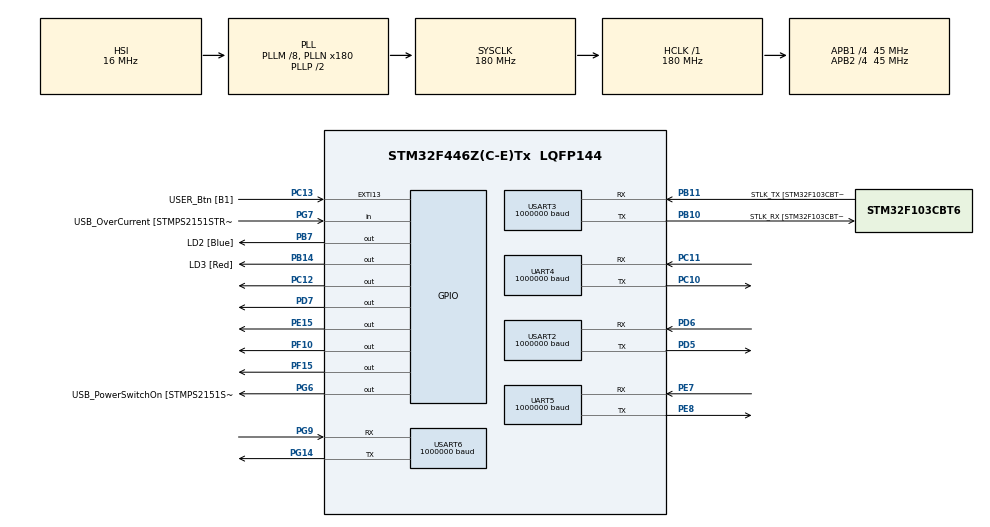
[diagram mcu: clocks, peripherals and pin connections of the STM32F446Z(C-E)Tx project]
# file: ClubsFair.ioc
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Mcu.Family=STM32F4
Mcu.Name=STM32F446Z(C-E)Tx
Mcu.Package=LQFP144
NVIC.PriorityGroup=NVIC_PRIORITYGROUP_4
NVIC.TIM1_UP_TIM10_IRQn=true\:0\:0\:false\:false\:true
NVIC.UART4_IRQn=true\:0\:0\:false\:false\:true
NVIC.UART5_IRQn=true\:0\:0\:false\:false\:true
NVIC.USART2_IRQn=true\:0\:0\:false\:true\:true\:1
NVIC.USART3_IRQn=true\:0\:0\:false\:false\:true
NVIC.USART6_IRQn=true\:0\:0\:false\:true\:true\:2
PA10.GPIO_Label=USB_ID
PA10.Signal=USB_OTG_FS_ID
PA11.GPIO_Label=USB_DM
PA11.Signal=USB_OTG_FS_DM
PA12.GPIO_Label=USB_DP
PA12.Signal=USB_OTG_FS_DP
PA13.GPIO_Label=TMS
PA13.Signal=SYS_JTMS-SWDIO
PA14.GPIO_Label=TCK
PA14.Signal=SYS_JTCK-SWCLK
PA8.GPIO_Label=USB_SOF [TP1]
PA8.Signal=USB_OTG_FS_SOF
PA9.GPIO_Label=USB_VBUS
PA9.Signal=USB_OTG_FS_VBUS
PB10.GPIO_Label=STLK_RX [STM32F103CBT6_PA3]
PB10.Mode=Asynchronous
PB10.Signal=USART3_TX
PB11.GPIO_Label=STLK_TX [STM32F103CBT6_PA2]
PB11.Mode=Asynchronous
PB11.Signal=USART3_RX
PB14.GPIO_Label=LD3 [Red]
PB14.Signal=GPIO_Output
PB7.GPIO_Label=LD2 [Blue]
PB7.Signal=GPIO_Output
PC10.Mode=Asynchronous
PC10.Signal=UART4_TX
PC11.Mode=Asynchronous
PC11.Signal=UART4_RX
PC12.GPIO_Speed=GPIO_SPEED_FREQ_VERY_HIGH
PC12.PinState=GPIO_PIN_SET
PC12.Signal=GPIO_Output
PC13.GPIO_Label=USER_Btn [B1]
PC13.Signal=GPXTI13
PC14-OSC32_IN.Signal=RCC_OSC32_IN
PC15-OSC32_OUT.Signal=RCC_OSC32_OUT
PD5.Mode=Asynchronous
PD5.Signal=USART2_TX
PD6.Mode=Asynchronous
PD6.Signal=USART2_RX
PD7.GPIO_Speed=GPIO_SPEED_FREQ_VERY_HIGH
PD7.PinState=GPIO_PIN_SET
PD7.Signal=GPIO_Output
PE15.GPIO_Speed=GPIO_SPEED_FREQ_VERY_HIGH
PE15.PinState=GPIO_PIN_SET
PE15.Signal=GPIO_Output
PE7.Mode=Asynchronous
PE7.Signal=UART5_RX
PE8.Mode=Asynchronous
PE8.Signal=UART5_TX
PF10.GPIO_Speed=GPIO_SPEED_FREQ_VERY_HIGH
PF10.PinState=GPIO_PIN_SET
PF10.Signal=GPIO_Output
PF15.GPIO_Speed=GPIO_SPEED_FREQ_VERY_HIGH
PF15.PinState=GPIO_PIN_SET
PF15.Signal=GPIO_Output
PG14.Mode=Asynchronous
PG14.Signal=USART6_TX
PG6.GPIO_Label=USB_PowerSwitchOn [STMPS2151STR_EN]
PG6.Signal=GPIO_Output
PG7.GPIO_Label=USB_OverCurrent [STMPS2151STR_FAULT]
PG7.Signal=GPIO_Input
PG9.Mode=Asynchronous
PG9.Signal=USART6_RX
PH0-OSC_IN.GPIO_Label=MCO [STM32F103CBT6_PA8]
PH0-OSC_IN.Signal=RCC_OSC_IN
PH1-OSC_OUT.Signal=RCC_OSC_OUT
ProjectManager.HeapSize=0x200
ProjectManager.StackSize=0x400
ProjectManager.TargetToolchain=SW4STM32
RCC.48MHZClocksFreq_Value=24000000
RCC.AHBFreq_Value=180000000
RCC.APB1CLKDivider=RCC_HCLK_DIV4
RCC.APB1Freq_Value=45000000
RCC.APB1TimFreq_Value=90000000
RCC.APB2CLKDivider=RCC_HCLK_DIV4
RCC.APB2Freq_Value=45000000
RCC.APB2TimFreq_Value=90000000
RCC.CortexFreq_Value=180000000
RCC.HCLKFreq_Value=180000000
RCC.HSE_VALUE=8000000
RCC.HSI_VALUE=16000000
RCC.LSE_VALUE=32768
RCC.PLLM=8
RCC.PLLMUL=RCC_PLL_MUL9
RCC.PLLN=180
RCC.PRESCALERUSB=RCC_USBCLKSOURCE_PLL_DIV1_5
RCC.SYSCLKFreq_VALUE=180000000
RCC.SYSCLKSource=RCC_SYSCLKSOURCE_PLLCLK
RCC.SYSCLKSourceVirtual=RCC_SYSCLKSOURCE_PLLCLK
RCC.USBFreq_Value=180000000
RCC.VCOOutputFreq_Value=360000000
TIM10.Period=999
TIM10.Prescaler=90
UART4.BaudRate=1000000
UART4.VirtualMode=Asynchronous
UART5.BaudRate=1000000
UART5.VirtualMode=Asynchronous
USART2.BaudRate=1000000
USART2.VirtualMode=VM_ASYNC
USART3.BaudRate=1000000
USART3.VirtualMode=VM_ASYNC
USART6.BaudRate=1000000
USART6.VirtualMode=VM_ASYNC
VP_TIM10_VS_ClockSourceINT.Mode=Enable_Timer
board=NUCLEO-F446ZE

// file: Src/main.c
/**
  ******************************************************************************
  * File Name          : main.c
  * Description        : Main program body
  ******************************************************************************
  ** This notice applies to any and all portions of this file
  * that are not between comment pairs USER CODE BEGIN and
  * USER CODE END. Other portions of this file, whether
  * inserted by the user or by software development tools
  * are owned by their respective copyright owners.
  *
  * COPYRIGHT(c) 2017 STMicroelectronics
  *
  * Redistribution and use in source and binary forms, with or without modification,
  * are permitted provided that the following conditions are met:
  *   1. Redistributions of source code must retain the above copyright notice,
  *      this list of conditions and the following disclaimer.
  *   2. Redistributions in binary form must reproduce the above copyright notice,
  *      this list of conditions and the following disclaimer in the documentation
  *      and/or other materials provided with the distribution.
  *   3. Neither the name of STMicroelectronics nor the names of its contributors
  *      may be used to endorse or promote products derived from this software
  *      without specific prior written permission.
  *
  * THIS SOFTWARE IS PROVIDED BY THE COPYRIGHT HOLDERS AND CONTRIBUTORS "AS IS"
  * AND ANY EXPRESS OR IMPLIED WARRANTIES, INCLUDING, BUT NOT LIMITED TO, THE
  * IMPLIED WARRANTIES OF MERCHANTABILITY AND FITNESS FOR A PARTICULAR PURPOSE ARE
  * DISCLAIMED. IN NO EVENT SHALL THE COPYRIGHT HOLDER OR CONTRIBUTORS BE LIABLE
  * FOR ANY DIRECT, INDIRECT, INCIDENTAL, SPECIAL, EXEMPLARY, OR CONSEQUENTIAL
  * DAMAGES (INCLUDING, BUT NOT LIMITED TO, PROCUREMENT OF SUBSTITUTE GOODS OR
  * SERVICES; LOSS OF USE, DATA, OR PROFITS; OR BUSINESS INTERRUPTION) HOWEVER
  * CAUSED AND ON ANY THEORY OF LIABILITY, WHETHER IN CONTRACT, STRICT LIABILITY,
  * OR TORT (INCLUDING NEGLIGENCE OR OTHERWISE) ARISING IN ANY WAY OUT OF THE USE
  * OF THIS SOFTWARE, EVEN IF ADVISED OF THE POSSIBILITY OF SUCH DAMAGE.
  *
  ******************************************************************************
  */
#include "main.h"
#include "stm32f4xx_hal.h"
#include "tim.h"
#include "usart.h"
#include "gpio.h"

/* USER CODE BEGIN Includes */
/* Motor driver. */
#include "../../../Dynamixel_AX-12A_Driver/src/Dynamixel_AX-12A.h"
#include "../../../Dynamixel_AX-12A_Driver/src/Dynamixel_AX-12A.c"
/* USER CODE END Includes */

/* USER CODE BEGIN PV */
/* Private variables ---------------------------------------------------------*/

/* Directions are relative to the robot's perspective. */
Dynamixel_HandleTypeDef Motor1; // Right motor to rotate left leg about vertical axis
Dynamixel_HandleTypeDef Motor2; // <--- --->
Dynamixel_HandleTypeDef Motor3;
Dynamixel_HandleTypeDef Motor4; // Left motor to rotate right leg about vertical axis
Dynamixel_HandleTypeDef Motor5; // <--- --->
Dynamixel_HandleTypeDef Motor6;
Dynamixel_HandleTypeDef Motor7; // Right knee
Dynamixel_HandleTypeDef Motor8; // Controls up/down motion of right foot
Dynamixel_HandleTypeDef Motor9; // Controls side-to-side motion of right foot
Dynamixel_HandleTypeDef Motor10; // Left knee
Dynamixel_HandleTypeDef Motor11; // Controls up/down motion of left foot
Dynamixel_HandleTypeDef Motor12; // Controls side-to-side motion of left foot

// UN-ID'd:
Dynamixel_HandleTypeDef Motor13; // Right shoulder
Dynamixel_HandleTypeDef Motor14; // Right elbow
Dynamixel_HandleTypeDef Motor15; // Left shoulder
Dynamixel_HandleTypeDef Motor16; // Left elbow
Dynamixel_HandleTypeDef Motor17; // Neck
/* USER CODE END PV */

void SystemClock_Config(void);
static void MX_NVIC_Init(void);

/* USER CODE BEGIN PFP */
/* Private function prototypes -----------------------------------------------*/

/* USER CODE END PFP */

int main(void)
{

  /* MCU Configuration----------------------------------------------------------*/

  /* Reset of all peripherals, Initializes the Flash interface and the Systick. */
  HAL_Init();

  /* Configure the system clock */
  SystemClock_Config();

  /* Initialize all configured peripherals */
  MX_GPIO_Init();
  MX_USART3_UART_Init();
  MX_USART2_UART_Init();
  MX_USART6_UART_Init();
  MX_UART5_Init();
  MX_TIM10_Init();
  MX_UART4_Init();

  /* Initialize interrupts */
  MX_NVIC_Init();

  /* USER CODE BEGIN 2 */
  /* UART2 --> Motors: 1, 2, 3	|	Data Direction Pin: D7 (STM32) / D51 (Nucleo446ZE). */
  	Dynamixel_Init(&Motor1, 1, &huart2, GPIOD, GPIO_PIN_7);
  	Dynamixel_Init(&Motor2, 2, &huart2, GPIOD, GPIO_PIN_7);
  	Dynamixel_Init(&Motor3, 3, &huart2, GPIOD, GPIO_PIN_7);

  	/* UART4 --> Motors: 4, 5, 6	|	Data Direction Pin: C12 (STM32) / D47 (Nucleo446ZE). */
  	Dynamixel_Init(&Motor4, 4, &huart4, GPIOC, GPIO_PIN_12);
  	Dynamixel_Init(&Motor5, 5, &huart4, GPIOC, GPIO_PIN_12);
  	Dynamixel_Init(&Motor6, 6, &huart4, GPIOC, GPIO_PIN_12);

  	/* UART5 --> Motors: 7, 8, 9	|	Data Direction Pin: F10 (STM32) / A5 (Nucleo446ZE). */
  	Dynamixel_Init(&Motor7, 7, &huart5, GPIOF, GPIO_PIN_10);
  	Dynamixel_Init(&Motor8, 8, &huart5, GPIOF, GPIO_PIN_10);
  	Dynamixel_Init(&Motor9, 9, &huart5, GPIOF, GPIO_PIN_10);

  	/* UART6 --> Motors: 10, 11, 12	|	Data Direction Pin: F15 (STM32) / D2 (Nucleo446ZE). */
  	Dynamixel_Init(&Motor10, 10, &huart6, GPIOF, GPIO_PIN_15);
  	Dynamixel_Init(&Motor11, 11, &huart6, GPIOF, GPIO_PIN_15);
  	Dynamixel_Init(&Motor12, 12, &huart6, GPIOF, GPIO_PIN_15);

  	Dynamixel_HandleTypeDef* arrDynamixel[12];
  	arrDynamixel[0] = &Motor1;
  	arrDynamixel[1] = &Motor2;
  	arrDynamixel[2] = &Motor3;
  	arrDynamixel[3] = &Motor4;
  	arrDynamixel[4] = &Motor5;
  	arrDynamixel[5] = &Motor6;
  	arrDynamixel[6] = &Motor7;
  	arrDynamixel[7] = &Motor8;
  	arrDynamixel[8] = &Motor9;
  	arrDynamixel[9] = &Motor10;
  	arrDynamixel[10] = &Motor11;
  	arrDynamixel[11] = &Motor12;

//  	while(1){
//  	//		Dynamixel_SetGoalVelocity(arrDynamixel[i], MAX_VELOCITY*0.2);
//		Dynamixel_LEDEnable(arrDynamixel[10], 1);
//		HAL_Delay(1000);
//		Dynamixel_LEDEnable(arrDynamixel[10], 0);
//		HAL_Delay(1000);
//	}

  	Dynamixel_SetGoalVelocity(&Motor3, 100);
  	while(1){
  		Dynamixel_SetGoalPosition(&Motor3, 0);
  		HAL_Delay(1000);
  		Dynamixel_SetGoalPosition(&Motor3, 300);

  		do{
  			Dynamixel_GetPosition(&Motor3);
  			HAL_Delay(10);
  		}while(&Motor3._lastPosition < (uint16_t)290);
  		//HAL_Delay(1000);
  	}

	for(uint8_t i = 0; i < 12; i++){
		Dynamixel_SetGoalVelocity(arrDynamixel[i], MAX_VELOCITY*0.05);
//  		Dynamixel_LEDEnable(arrDynamixel[i], 1);
//  		HAL_Delay(1000);
//  		Dynamixel_LEDEnable(arrDynamixel[i], 0);
//  		HAL_Delay(10);
	}

	while(1){
		/* Standing upright (slightly bent). */
		uint16_t uprightPositions[12] = {150, 150, 150-50,
									     150, 150, 150+50,
										 150-70, 150+30, 150,
										 150+70, 150-30, 150,
										};

		for(uint8_t i = 0; i < 12; i++){
			Dynamixel_SetGoalPosition(arrDynamixel[i], uprightPositions[i]);
		}
		HAL_Delay(3000);

		/* Bent. */
		uint16_t bentPositions[12] = {150, 150, 150-40,
									  150, 150, 150+40,
									  150-90, 150+50, 150-20,
									  150+90, 150-50, 150-20,
									 };
		for(uint8_t i = 0; i < 12; i++){
			Dynamixel_SetGoalPosition(arrDynamixel[i], bentPositions[i]);
		}
		HAL_Delay(3000);

		uint16_t bentPositions2[12] = {150, 150, 150-40,
									  150, 150, 150+40,
									  150-90, 150+50, 150+20,
									  150+90, 150-50, 150+20,
									 };
		for(uint8_t i = 0; i < 12; i++){
			Dynamixel_SetGoalPosition(arrDynamixel[i], bentPositions2[i]);
		}
		HAL_Delay(3000);
	}
  /* USER CODE END 2 */

  /* Infinite loop */
  while (1)
  {

  }

}

/** System Clock Configuration
*/
void SystemClock_Config(void)
{

  RCC_OscInitTypeDef RCC_OscInitStruct;
  RCC_ClkInitTypeDef RCC_ClkInitStruct;

    /**Configure the main internal regulator output voltage
    */
  __HAL_RCC_PWR_CLK_ENABLE();

  __HAL_PWR_VOLTAGESCALING_CONFIG(PWR_REGULATOR_VOLTAGE_SCALE1);

    /**Initializes the CPU, AHB and APB busses clocks
    */
  RCC_OscInitStruct.OscillatorType = RCC_OSCILLATORTYPE_HSI;
  RCC_OscInitStruct.HSIState = RCC_HSI_ON;
  RCC_OscInitStruct.HSICalibrationValue = 16;
  RCC_OscInitStruct.PLL.PLLState = RCC_PLL_ON;
  RCC_OscInitStruct.PLL.PLLSource = RCC_PLLSOURCE_HSI;
  RCC_OscInitStruct.PLL.PLLM = 8;
  RCC_OscInitStruct.PLL.PLLN = 180;
  RCC_OscInitStruct.PLL.PLLP = RCC_PLLP_DIV2;
  RCC_OscInitStruct.PLL.PLLQ = 2;
  RCC_OscInitStruct.PLL.PLLR = 2;
  if (HAL_RCC_OscConfig(&RCC_OscInitStruct) != HAL_OK)
  {
    _Error_Handler(__FILE__, __LINE__);
  }

    /**Activate the Over-Drive mode
    */
  if (HAL_PWREx_EnableOverDrive() != HAL_OK)
  {
    _Error_Handler(__FILE__, __LINE__);
  }

    /**Initializes the CPU, AHB and APB busses clocks
    */
  RCC_ClkInitStruct.ClockType = RCC_CLOCKTYPE_HCLK|RCC_CLOCKTYPE_SYSCLK
                              |RCC_CLOCKTYPE_PCLK1|RCC_CLOCKTYPE_PCLK2;
  RCC_ClkInitStruct.SYSCLKSource = RCC_SYSCLKSOURCE_PLLCLK;
  RCC_ClkInitStruct.AHBCLKDivider = RCC_SYSCLK_DIV1;
  RCC_ClkInitStruct.APB1CLKDivider = RCC_HCLK_DIV4;
  RCC_ClkInitStruct.APB2CLKDivider = RCC_HCLK_DIV4;

  if (HAL_RCC_ClockConfig(&RCC_ClkInitStruct, FLASH_LATENCY_5) != HAL_OK)
  {
    _Error_Handler(__FILE__, __LINE__);
  }

    /**Configure the Systick interrupt time
    */
  HAL_SYSTICK_Config(HAL_RCC_GetHCLKFreq()/1000);

    /**Configure the Systick
    */
  HAL_SYSTICK_CLKSourceConfig(SYSTICK_CLKSOURCE_HCLK);

  /* SysTick_IRQn interrupt configuration */
  HAL_NVIC_SetPriority(SysTick_IRQn, 0, 0);
}

/** NVIC Configuration
*/
static void MX_NVIC_Init(void)
{
  /* USART2_IRQn interrupt configuration */
  HAL_NVIC_SetPriority(USART2_IRQn, 0, 0);
  HAL_NVIC_EnableIRQ(USART2_IRQn);
  /* USART6_IRQn interrupt configuration */
  HAL_NVIC_SetPriority(USART6_IRQn, 0, 0);
  HAL_NVIC_EnableIRQ(USART6_IRQn);
}

void _Error_Handler(char * file, int line)
{
  while(1)
  {
  }
}

/************************ (C) COPYRIGHT STMicroelectronics *****END OF FILE****/
